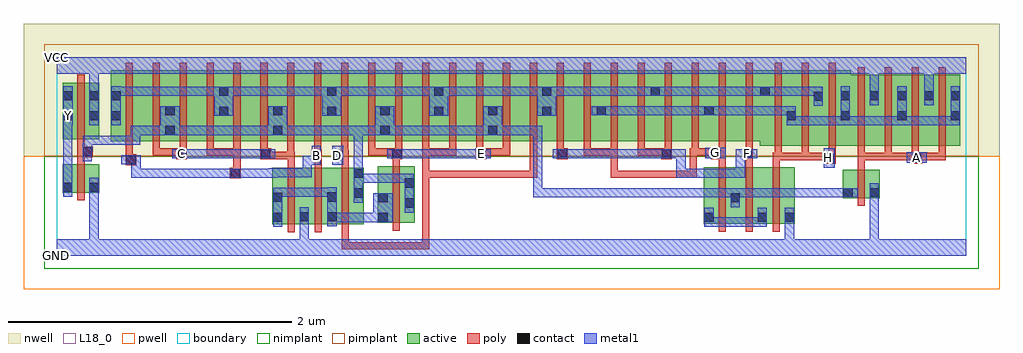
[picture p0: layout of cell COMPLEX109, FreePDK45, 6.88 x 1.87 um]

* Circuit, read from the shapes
.subckt COMPLEX109 A B C D E F G GND H VCC Y
M1 GND n1 Y VSUBS nfet w=0.2u l=0.05u
M2 GND C n2 VSUBS nfet w=0.4u l=0.05u
M3 n2 B GND VSUBS nfet w=0.4u l=0.05u
M4 n1 D n2 VSUBS nfet w=0.4u l=0.05u
M5 n1 E n2 VSUBS nfet w=0.4u l=0.05u
M6 n1 G n3 VSUBS nfet w=0.4u l=0.05u
M7 n3 F n1 VSUBS nfet w=0.4u l=0.05u
M8 GND H n3 VSUBS nfet w=0.4u l=0.05u
M9 GND A n1 VSUBS nfet w=0.2u l=0.05u
M10 VCC n1 Y n4 pfet w=0.4u l=0.05u
M11 n5 B n6 n4 pfet w=0.5u l=0.05u
M12 n1 C n5 n4 pfet w=0.5u l=0.05u
M13 n7 C n1 n4 pfet w=0.5u l=0.05u
M14 n6 B n7 n4 pfet w=0.5u l=0.05u
M15 n8 B n6 n4 pfet w=0.5u l=0.05u
M16 n1 C n8 n4 pfet w=0.5u l=0.05u
M17 n9 C n1 n4 pfet w=0.5u l=0.05u
M18 n6 B n9 n4 pfet w=0.5u l=0.05u
M19 n10 D n6 n4 pfet w=0.5u l=0.05u
M20 n1 E n10 n4 pfet w=0.5u l=0.05u
M21 n11 E n1 n4 pfet w=0.5u l=0.05u
M22 n6 D n11 n4 pfet w=0.5u l=0.05u
M23 n12 D n6 n4 pfet w=0.5u l=0.05u
M24 n1 E n12 n4 pfet w=0.5u l=0.05u
M25 n13 E n1 n4 pfet w=0.5u l=0.05u
M26 n6 D n13 n4 pfet w=0.5u l=0.05u
M27 n14 F n6 n4 pfet w=0.5u l=0.05u
M28 n15 G n14 n4 pfet w=0.5u l=0.05u
M29 n16 G n15 n4 pfet w=0.5u l=0.05u
M30 n6 F n16 n4 pfet w=0.5u l=0.05u
M31 n17 F n6 n4 pfet w=0.5u l=0.05u
M32 n15 G n17 n4 pfet w=0.5u l=0.05u
M33 n18 G n15 n4 pfet w=0.5u l=0.05u
M34 n6 F n18 n4 pfet w=0.5u l=0.05u
M35 n15 H n6 n4 pfet w=0.532u l=0.05u m=3
M36 VCC A n15 n4 pfet w=0.5u l=0.05u m=4
.ends

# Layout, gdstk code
import gdstk
lib = gdstk.Library(unit=1e-6, precision=1e-09)
def R(c, l, rs):  # rectangles x0, y0, x1, y1
    for r in rs: c.add(gdstk.rectangle(r[:2], r[2:], *l))
def A(c, l, x, y, w, h, nx, ny, dx, dy):  # array of equal rectangles
    R(c, l, [(x+i*dx, y+j*dy, x+i*dx+w, y+j*dy+h) for i in range(nx) for j in range(ny)])
active = (1, 0)
pwell = (2, 0)
nwell = (3, 0)
nimplant = (4, 0)
pimplant = (5, 0)
poly = (9, 0)
contact = (10, 0)
metal1 = (11, 0)
L18_0 = (18, 0)
boundary = (235, 0)

complex109 = lib.new_cell('COMPLEX109')
A(complex109, active, 0.38, 0.807, 0.225, 0.5, 5, 1, 0.38, 0)
A(complex109, active, 0.605, 0.807, 0.23, 0.5, 4, 1, 0.38, 0)
A(complex109, active, 2.125, 0.807, 0.225, 0.5, 4, 1, 0.38, 0)
A(complex109, active, 2.275, 0.807, 0.23, 0.5, 4, 1, 0.38, 0)
A(complex109, active, 3.645, 0.807, 0.23, 0.5, 3, 1, 0.38, 0)
A(complex109, active, 3.8, 0.807, 0.225, 0.5, 3, 1, 0.38, 0)
R(complex109, active, [(1.52,0.222,1.782,0.622), (1.707,0.222,1.977,0.622), (1.902,0.222,2.162,0.622), (4.56,0.225,4.82,0.625), (4.745,0.225,5.01,0.625), (4.935,0.225,5.202,0.625), (5.127,0.225,5.202,0.625), (1.52,0.232,1.595,0.622), (1.707,0.232,1.782,0.492), (1.902,0.232,1.977,0.492), (2.262,0.232,2.337,0.632), (2.262,0.232,2.522,0.632), (2.447,0.232,2.522,0.632), (4.56,0.232,4.635,0.492), (4.935,0.232,5.01,0.492), (2.087,0.245,2.162,0.622), (4.745,0.245,4.82,0.492), (5.54,0.407,5.615,0.607), (5.54,0.407,5.8,0.607), (5.725,0.407,5.8,0.607), (0.04,0.445,0.115,0.645), (0.04,0.445,0.3,0.645), (0.225,0.445,0.3,0.645), (4.955,0.775,5.215,1.307), (5.14,0.775,5.405,1.307), (5.14,0.775,5.215,1.07), (5.33,0.775,5.405,1.2), (5.33,0.775,5.595,1.307), (5.52,0.775,5.8,1.275), (5.725,0.775,5.8,1.275), (5.725,0.775,5.995,1.275), (5.92,0.775,5.995,1.2), (5.92,0.775,6.185,1.275), (6.11,0.775,6.37,1.275), (6.11,0.775,6.185,1.275), (6.295,0.775,6.37,1.2), (0.38,0.807,0.485,1.2), (0.76,0.807,0.835,1.07), (1.14,0.807,1.215,1.2), (1.52,0.807,1.595,1.07), (1.9,0.807,1.975,1.2), (2.275,0.807,2.35,1.07), (2.655,0.807,2.73,1.2), (3.035,0.807,3.11,1.07), (3.415,0.807,3.49,1.2), (3.8,0.807,3.875,1.07), (4.18,0.807,4.255,1.2), (4.56,0.807,4.635,1.07), (4.785,0.807,5.03,1.307), (4.955,0.807,5.03,1.2), (5.52,0.807,5.595,1.2), (0.04,0.82,0.3,1.22), (0.04,0.82,0.115,1.165), (0.225,0.82,0.3,1.22)])
R(complex109, pwell, [(-0.235,-0.235,6.645,0.7)])
R(complex109, nwell, [(-0.235,0.7,6.645,1.635)])
R(complex109, nimplant, [(-0.09,-0.09,6.5,0.7)])
R(complex109, pimplant, [(-0.09,0.7,6.5,1.49)])
A(complex109, poly, 1.627, 0.167, 0.05, 0.51, 3, 1, 0.19, 0)
A(complex109, poly, 5.06, 0.675, 0.05, 0.095, 3, 1, 0.19, 0)
A(complex109, poly, 5.645, 0.675, 0.05, 0.095, 4, 1, 0.19, 0)
A(complex109, poly, 0.675, 0.707, 0.05, 0.095, 5, 1, 0.19, 0)
A(complex109, poly, 2.195, 0.707, 0.05, 0.095, 6, 1, 0.19, 0)
A(complex109, poly, 3.525, 0.707, 0.05, 0.095, 8, 1, 0.19, 0)
A(complex109, poly, 5.06, 0.72, 0.05, 0.642, 3, 1, 0.19, 0)
A(complex109, poly, 5.645, 0.72, 0.05, 0.61, 4, 1, 0.19, 0)
A(complex109, poly, 0.485, 0.752, 0.05, 0.61, 24, 1, 0.19, 0)
R(complex109, poly, [(2.007,0.045,2.057,0.095), (2.007,0.045,2.057,0.095), (2.007,0.045,2.057,0.095), (2.007,0.045,2.19,0.095), (2.007,0.045,2.057,0.217), (2.14,0.045,2.19,0.095), (2.14,0.045,2.19,0.095), (2.14,0.045,2.19,0.095), (2.14,0.045,2.492,0.095), (2.442,0.045,2.492,0.095), (2.442,0.045,2.625,0.095), (2.575,0.045,2.625,0.095), (2.575,0.045,2.625,0.095), (2.575,0.045,2.625,0.095), (2.575,0.045,2.625,0.095), (2.575,0.045,2.625,0.095), (2.575,0.045,2.625,0.6), (4.665,0.17,4.715,0.68), (4.855,0.17,4.905,0.68), (5.047,0.17,5.097,0.68), (2.367,0.177,2.417,0.687), (5.645,0.352,5.695,0.662), (0.145,0.39,0.195,0.7), (1.22,0.545,1.295,0.62), (2.575,0.55,2.625,0.6), (2.575,0.55,2.625,0.6), (2.575,0.55,2.625,0.6), (2.575,0.55,2.625,0.757), (2.575,0.55,2.757,0.6), (2.707,0.55,2.757,0.6), (2.707,0.55,2.757,0.6), (2.707,0.55,2.757,0.6), (2.707,0.55,2.89,0.6), (2.84,0.55,2.89,0.6), (2.84,0.55,3.022,0.6), (2.972,0.55,3.022,0.6), (2.972,0.55,3.022,0.6), (2.972,0.55,3.022,0.6), (2.972,0.55,3.252,0.6), (3.202,0.55,3.252,0.6), (3.202,0.55,3.385,0.6), (3.335,0.55,3.385,0.6), (3.335,0.55,3.385,0.6), (3.335,0.55,3.385,0.6), (3.335,0.55,3.385,0.6), (3.335,0.55,3.385,0.6), (3.335,0.55,3.385,0.6), (3.335,0.55,3.385,0.6), (3.335,0.55,3.385,0.802), (3.905,0.55,3.955,0.6), (3.905,0.55,3.955,0.6), (3.905,0.55,3.955,0.6), (3.905,0.55,3.955,0.757), (3.905,0.55,4.177,0.6), (4.127,0.55,4.177,0.6), (4.127,0.55,4.177,0.6), (4.127,0.55,4.177,0.6), (4.127,0.55,4.377,0.6), (4.327,0.55,4.377,0.6), (4.327,0.55,4.377,0.6), (4.327,0.55,4.377,0.6), (4.327,0.55,4.51,0.6), (4.46,0.55,4.51,0.6), (4.46,0.55,4.51,0.757), (1.245,0.57,1.295,0.62), (1.245,0.57,1.295,0.62), (1.245,0.57,1.295,0.757), (5.645,0.612,5.695,0.725), (1.627,0.627,1.677,0.732), (1.817,0.627,1.867,0.722), (2.007,0.627,2.057,0.722), (4.665,0.63,4.715,0.732), (4.855,0.63,4.905,0.732), (5.047,0.63,5.097,0.725), (2.367,0.637,2.417,0.732), (0.485,0.64,0.56,0.715), (0.145,0.65,0.195,0.745), (5.415,0.65,5.49,0.725), (6.025,0.65,6.1,0.725), (0.485,0.665,0.535,0.802), (1.792,0.672,1.867,0.747), (1.95,0.672,2.057,0.747), (5.047,0.675,5.11,0.725), (5.06,0.675,5.11,0.725), (5.06,0.675,5.11,0.725), (5.06,0.675,5.3,0.725), (5.25,0.675,5.3,0.725), (5.25,0.675,5.3,0.725), (5.25,0.675,5.3,0.725), (5.25,0.675,5.465,0.725), (5.645,0.675,5.695,0.725), (5.645,0.675,5.695,0.725), (5.645,0.675,5.695,0.725), (5.645,0.675,5.885,0.725), (5.835,0.675,5.885,0.725), (5.835,0.675,5.885,0.725), (5.835,0.675,5.885,0.725), (5.835,0.675,6.075,0.725), (6.05,0.675,6.265,0.725), (6.215,0.675,6.265,0.725), (6.215,0.675,6.265,0.725), (6.215,0.675,6.265,0.725), (0.842,0.682,0.917,0.757), (1.435,0.682,1.51,0.757), (1.46,0.682,1.675,0.732), (1.625,0.682,1.675,0.732), (1.625,0.682,1.675,0.732), (1.625,0.682,1.675,0.802), (1.625,0.682,1.677,0.732), (2.36,0.682,2.435,0.757), (2.952,0.682,3.027,0.757), (3.525,0.682,3.6,0.757), (4.26,0.682,4.335,0.757), (4.61,0.682,4.715,0.757), (4.83,0.682,4.905,0.757), (0.145,0.695,0.252,0.77), (1.815,0.697,1.865,0.802), (2.005,0.697,2.055,0.802), (0.675,0.707,0.725,0.757), (0.675,0.707,0.725,0.757), (0.675,0.707,0.725,0.757), (0.675,0.707,0.892,0.757), (1.055,0.707,1.105,0.757), (1.055,0.707,1.295,0.757), (1.245,0.707,1.295,0.757), (1.245,0.707,1.295,0.757), (1.245,0.707,1.295,0.757), (2.195,0.707,2.245,0.757), (2.195,0.707,2.245,0.757), (2.195,0.707,2.245,0.757), (2.195,0.707,2.41,0.757), (2.575,0.707,2.625,0.757), (2.575,0.707,2.625,0.757), (2.575,0.707,2.625,0.757), (2.575,0.707,2.757,0.757), (2.707,0.707,2.757,0.757), (2.707,0.707,2.815,0.757), (2.765,0.707,2.815,0.757), (2.977,0.707,3.195,0.757), (3.145,0.707,3.195,0.757), (3.145,0.707,3.195,0.757), (3.145,0.707,3.195,0.757), (3.715,0.707,3.765,0.757), (3.715,0.707,3.765,0.757), (3.715,0.707,3.765,0.757), (3.715,0.707,3.955,0.757), (3.905,0.707,3.955,0.757), (3.905,0.707,3.955,0.757), (3.905,0.707,3.955,0.757), (4.095,0.707,4.145,0.757), (4.095,0.707,4.145,0.757), (4.095,0.707,4.145,0.757), (4.095,0.707,4.31,0.757), (4.46,0.707,4.51,0.757), (4.46,0.707,4.51,0.757), (4.46,0.707,4.525,0.757), (4.475,0.707,4.525,0.757), (4.475,0.707,4.525,0.757), (4.475,0.707,4.66,0.757), (0.145,0.72,0.195,0.815), (0.145,0.765,0.195,1.275)])
R(complex109, contact, [(2.267,0.237,2.332,0.302), (1.525,0.24,1.59,0.305), (4.565,0.24,4.63,0.305), (4.94,0.24,5.005,0.305), (5.132,0.24,5.197,0.305), (1.712,0.242,1.777,0.307), (1.907,0.242,1.972,0.307), (2.452,0.34,2.517,0.405), (2.267,0.377,2.332,0.442), (4.75,0.377,4.815,0.442), (1.525,0.38,1.59,0.445), (1.907,0.382,1.972,0.447), (2.092,0.41,2.157,0.475), (5.545,0.412,5.61,0.477), (5.73,0.412,5.795,0.477), (0.045,0.45,0.11,0.515), (0.23,0.45,0.295,0.515), (2.452,0.48,2.517,0.545), (1.225,0.55,1.29,0.615), (2.092,0.55,2.157,0.615), (0.49,0.645,0.555,0.71), (5.42,0.655,5.485,0.72), (6.03,0.655,6.095,0.72), (1.797,0.677,1.862,0.742), (1.955,0.677,2.02,0.742), (0.847,0.687,0.912,0.752), (1.44,0.687,1.505,0.752), (2.365,0.687,2.43,0.752), (2.957,0.687,3.022,0.752), (3.53,0.687,3.595,0.752), (4.265,0.687,4.33,0.752), (4.615,0.687,4.68,0.752), (4.835,0.687,4.9,0.752), (0.182,0.7,0.247,0.765), (0.765,0.85,0.83,0.915), (1.525,0.85,1.59,0.915), (2.28,0.85,2.345,0.915), (3.04,0.85,3.105,0.915), (0.045,0.955,0.11,1.02), (0.23,0.955,0.295,1.02), (0.385,0.955,0.45,1.02), (5.145,0.955,5.21,1.02), (5.525,0.955,5.59,1.02), (5.925,0.955,5.99,1.02), (6.3,0.955,6.365,1.02), (1.145,0.987,1.21,1.052), (1.905,0.987,1.97,1.052), (2.66,0.987,2.725,1.052), (3.42,0.987,3.485,1.052), (0.765,0.99,0.83,1.055), (1.525,0.99,1.59,1.055), (2.28,0.99,2.345,1.055), (3.04,0.99,3.105,1.055), (3.805,0.99,3.87,1.055), (4.565,0.99,4.63,1.055), (5.335,1.092,5.4,1.157), (0.045,1.095,0.11,1.16), (0.23,1.095,0.295,1.16), (0.385,1.095,0.45,1.16), (5.525,1.095,5.59,1.16), (5.73,1.095,5.795,1.16), (5.925,1.095,5.99,1.16), (6.115,1.095,6.18,1.16), (6.3,1.095,6.365,1.16), (1.145,1.127,1.21,1.192), (1.905,1.127,1.97,1.192), (2.66,1.127,2.725,1.192), (3.42,1.127,3.485,1.192), (4.185,1.127,4.25,1.192), (4.96,1.127,5.025,1.192)])
R(complex109, metal1, [(0,0,6.41,0.115), (0.23,0.05,0.295,0.115), (0.23,0.05,0.295,0.115), (0.23,0.05,0.295,0.115), (0.23,0.05,0.295,0.115), (0.23,0.05,0.295,0.115), (0.23,0.05,0.295,0.115), (0.23,0.05,0.295,0.48), (1.712,0.05,1.777,0.115), (1.712,0.05,1.777,0.115), (1.712,0.05,1.777,0.272), (5.132,0.05,5.197,0.27), (5.73,0.05,5.795,0.115), (5.73,0.05,5.795,0.115), (5.73,0.05,5.795,0.115), (5.73,0.05,5.795,0.115), (5.73,0.05,5.795,0.115), (5.73,0.05,5.795,0.115), (5.73,0.05,5.795,0.442), (1.525,0.205,1.59,0.48), (4.565,0.205,4.63,0.34), (4.565,0.205,4.645,0.27), (4.58,0.205,4.645,0.27), (4.58,0.205,4.852,0.27), (4.787,0.205,4.852,0.27), (4.787,0.205,4.852,0.27), (4.787,0.205,4.852,0.27), (4.787,0.205,5.005,0.27), (4.94,0.205,5.005,0.34), (5.132,0.205,5.197,0.27), (5.132,0.205,5.197,0.27), (5.132,0.205,5.197,0.34), (1.712,0.207,1.777,0.342), (1.907,0.207,1.972,0.482), (1.907,0.237,1.972,0.302), (1.907,0.237,1.972,0.302), (1.907,0.237,2.16,0.302), (2.095,0.237,2.16,0.302), (2.095,0.237,2.16,0.302), (2.095,0.237,2.16,0.302), (2.095,0.237,2.297,0.302), (2.232,0.237,2.367,0.442), (2.452,0.305,2.517,0.58), (4.75,0.342,4.815,0.477), (2.092,0.375,2.157,0.65), (5.73,0.377,5.795,0.512), (3.357,0.412,3.422,0.477), (3.357,0.412,3.422,0.477), (3.357,0.412,3.657,0.477), (3.357,0.412,3.422,0.48), (3.592,0.412,3.657,0.477), (3.592,0.412,3.767,0.477), (3.702,0.412,3.767,0.477), (3.702,0.412,3.905,0.477), (3.84,0.412,3.905,0.477), (3.84,0.412,3.905,0.477), (3.84,0.412,3.905,0.477), (3.84,0.412,4.042,0.477), (3.977,0.412,4.042,0.477), (3.977,0.412,4.042,0.477), (3.977,0.412,4.042,0.477), (3.977,0.412,4.215,0.477), (4.15,0.412,4.215,0.477), (4.15,0.412,4.215,0.477), (4.15,0.412,4.215,0.477), (4.15,0.412,4.457,0.477), (4.392,0.412,4.457,0.477), (4.392,0.412,4.507,0.477), (4.442,0.412,4.507,0.477), (4.442,0.412,4.645,0.477), (4.58,0.412,4.645,0.477), (4.58,0.412,4.645,0.477), (4.58,0.412,4.645,0.477), (4.58,0.412,4.815,0.477), (4.75,0.412,4.852,0.477), (4.787,0.412,4.852,0.477), (4.787,0.412,5.06,0.477), (4.995,0.412,5.06,0.477), (4.995,0.412,5.06,0.477), (4.995,0.412,5.06,0.477), (4.995,0.412,5.21,0.477), (5.145,0.412,5.21,0.477), (5.145,0.412,5.21,0.477), (5.145,0.412,5.21,0.477), (5.145,0.412,5.437,0.477), (5.372,0.412,5.437,0.477), (5.372,0.412,5.437,0.477), (5.372,0.412,5.437,0.477), (5.372,0.412,5.575,0.477), (5.51,0.412,5.645,0.477), (0.045,0.415,0.11,0.55), (0.23,0.415,0.295,0.55), (1.525,0.415,1.625,0.48), (1.56,0.415,1.625,0.48), (1.56,0.415,1.8,0.48), (1.735,0.415,1.805,0.48), (1.74,0.415,1.805,0.48), (1.74,0.415,1.805,0.48), (1.74,0.415,1.972,0.48), (3.357,0.415,3.422,0.48), (3.357,0.415,3.422,0.48), (3.357,0.415,3.422,0.48), (3.357,0.415,3.422,0.48), (3.357,0.415,3.422,0.48), (3.357,0.415,3.422,0.48), (3.357,0.415,3.422,0.915), (0.045,0.485,0.11,0.55), (0.045,0.485,0.11,0.55), (0.045,0.485,0.11,0.55), (0.045,0.485,0.11,0.55), (0.045,0.485,0.11,0.985), (2.092,0.515,2.157,0.58), (2.092,0.515,2.157,0.58), (2.092,0.515,2.38,0.58), (2.315,0.515,2.38,0.58), (2.315,0.515,2.38,0.58), (2.315,0.515,2.38,0.58), (2.315,0.515,2.517,0.58), (0.525,0.55,0.59,0.615), (0.525,0.55,0.727,0.615), (0.525,0.55,0.59,0.71), (0.662,0.55,0.727,0.615), (0.662,0.55,0.727,0.615), (0.662,0.55,0.727,0.615), (0.662,0.55,0.865,0.615), (0.8,0.55,0.865,0.615), (0.8,0.55,1.037,0.615), (0.972,0.55,1.037,0.615), (0.972,0.55,1.085,0.615), (1.02,0.55,1.085,0.615), (1.02,0.55,1.255,0.615), (1.19,0.55,1.255,0.615), (1.19,0.55,1.255,0.615), (1.19,0.55,1.325,0.615), (1.26,0.55,1.417,0.615), (1.352,0.55,1.417,0.615), (1.352,0.55,1.417,0.615), (1.352,0.55,1.417,0.615), (1.352,0.55,1.487,0.615), (1.422,0.55,1.487,0.615), (1.422,0.55,1.555,0.615), (1.49,0.55,1.555,0.617), (4.367,0.55,4.432,0.615), (4.367,0.55,4.502,0.615), (4.367,0.55,4.432,0.752), (4.437,0.55,4.502,0.615), (4.437,0.55,4.645,0.615), (4.58,0.55,4.645,0.615), (4.58,0.55,4.645,0.615), (4.58,0.55,4.645,0.615), (4.58,0.55,4.852,0.615), (4.787,0.55,4.852,0.615), (4.787,0.55,4.852,0.752), (1.49,0.552,1.675,0.617), (1.61,0.552,1.675,0.617), (1.61,0.552,1.797,0.617), (1.732,0.552,1.797,0.617), (1.732,0.552,1.797,0.707), (2.092,0.585,2.157,0.65), (2.092,0.585,2.157,0.65), (2.092,0.585,2.157,0.915), (5.407,0.62,5.485,0.757), (1.732,0.642,1.797,0.707), (1.732,0.642,1.862,0.707), (1.797,0.642,1.862,0.777), (1.94,0.642,2.02,0.777), (0.455,0.645,0.59,0.71), (0.525,0.645,0.59,0.71), (0.525,0.645,0.59,0.71), (0.525,0.645,0.59,0.71), (0.525,0.645,0.59,0.71), (5.992,0.655,6.132,0.73), (0.182,0.665,0.247,0.8), (0.812,0.687,0.947,0.752), (0.882,0.687,1.002,0.752), (0.937,0.687,1.002,0.752), (0.937,0.687,1.107,0.752), (1.042,0.687,1.107,0.752), (1.042,0.687,1.245,0.752), (1.18,0.687,1.245,0.752), (1.18,0.687,1.245,0.752), (1.18,0.687,1.245,0.752), (1.18,0.687,1.417,0.752), (1.352,0.687,1.417,0.752), (1.352,0.687,1.47,0.752), (1.405,0.687,1.54,0.752), (2.33,0.687,2.465,0.752), (2.4,0.687,2.517,0.752), (2.452,0.687,2.517,0.752), (2.452,0.687,2.622,0.752), (2.557,0.687,2.622,0.752), (2.557,0.687,2.76,0.752), (2.695,0.687,2.76,0.752), (2.695,0.687,2.76,0.752), (2.695,0.687,2.76,0.752), (2.695,0.687,2.897,0.752), (2.832,0.687,2.897,0.752), (2.832,0.687,2.987,0.752), (2.922,0.687,3.057,0.752), (3.495,0.687,3.63,0.752), (3.565,0.687,3.657,0.752), (3.592,0.687,3.657,0.752), (3.592,0.687,3.767,0.752), (3.702,0.687,3.767,0.752), (3.702,0.687,3.905,0.752), (3.84,0.687,3.905,0.752), (3.84,0.687,3.905,0.752), (3.84,0.687,3.905,0.752), (3.84,0.687,4.077,0.752), (4.012,0.687,4.077,0.752), (4.012,0.687,4.077,0.752), (4.012,0.687,4.077,0.752), (4.012,0.687,4.295,0.752), (4.23,0.687,4.295,0.752), (4.23,0.687,4.295,0.752), (4.23,0.687,4.365,0.752), (4.3,0.687,4.432,0.752), (4.367,0.687,4.432,0.752), (4.572,0.687,4.715,0.762), (4.787,0.687,4.852,0.752), (4.787,0.687,4.865,0.752), (4.8,0.687,4.937,0.752), (0.182,0.735,0.247,0.8), (0.182,0.735,0.25,0.8), (0.185,0.735,0.25,0.8), (0.185,0.735,0.25,0.8), (0.185,0.735,0.25,0.847), (0.185,0.782,0.25,0.847), (0.185,0.782,0.45,0.847), (0.385,0.782,0.45,0.847), (0.385,0.782,0.45,0.847), (0.385,0.782,0.45,0.847), (0.385,0.782,0.587,0.847), (0.522,0.782,0.587,0.915), (0.522,0.85,0.727,0.915), (0.662,0.85,0.727,0.915), (0.662,0.85,0.795,0.915), (0.73,0.85,0.865,1.055), (0.8,0.85,0.865,0.915), (0.8,0.85,0.865,0.915), (0.8,0.85,1.002,0.915), (0.937,0.85,1.002,0.915), (0.937,0.85,1.085,0.915), (1.02,0.85,1.085,0.915), (1.02,0.85,1.28,0.915), (1.215,0.85,1.28,0.915), (1.215,0.85,1.28,0.915), (1.215,0.85,1.28,0.915), (1.215,0.85,1.417,0.915), (1.352,0.85,1.417,0.915), (1.352,0.85,1.462,0.915), (1.397,0.85,1.462,0.915), (1.397,0.85,1.555,0.915), (1.49,0.85,1.625,1.055), (1.56,0.85,1.625,0.915), (1.56,0.85,1.625,0.915), (1.56,0.85,1.8,0.915), (1.735,0.85,1.805,0.915), (1.74,0.85,1.805,0.915), (1.74,0.85,1.805,0.915), (1.74,0.85,1.935,0.915), (1.87,0.85,1.935,0.915), (1.87,0.85,1.935,0.915), (1.87,0.85,1.935,0.915), (1.87,0.85,2.157,0.915), (2.092,0.85,2.157,0.915), (2.092,0.85,2.157,0.915), (2.092,0.85,2.157,0.915), (2.092,0.85,2.157,0.915), (2.092,0.85,2.157,0.915), (2.092,0.85,2.31,0.915), (2.245,0.85,2.38,1.055), (2.315,0.85,2.38,0.915), (2.315,0.85,2.38,0.915), (2.315,0.85,2.547,0.915), (2.482,0.85,2.547,0.915), (2.482,0.85,2.602,0.915), (2.537,0.85,2.602,0.915), (2.537,0.85,2.76,0.915), (2.695,0.85,2.76,0.915), (2.695,0.85,2.76,0.915), (2.695,0.85,2.76,0.915), (2.695,0.85,2.932,0.915), (2.867,0.85,2.932,0.915), (2.867,0.85,2.932,0.915), (2.867,0.85,2.932,0.915), (2.867,0.85,3.07,0.915), (3.005,0.85,3.14,1.055), (3.075,0.85,3.14,0.915), (3.075,0.85,3.14,0.915), (3.075,0.85,3.277,0.915), (3.212,0.85,3.277,0.915), (3.212,0.85,3.277,0.915), (3.212,0.85,3.277,0.915), (3.212,0.85,3.422,0.915), (3.357,0.85,3.422,0.915), (0.045,0.92,0.112,1.195), (0.23,0.92,0.295,1.195), (0.385,0.92,0.45,1.195), (5.145,0.92,5.21,0.985), (5.145,0.92,5.21,0.985), (5.145,0.92,5.21,1.055), (5.145,0.92,5.347,0.985), (5.282,0.92,5.347,0.985), (5.282,0.92,5.347,0.985), (5.282,0.92,5.347,0.985), (5.282,0.92,5.59,0.985), (5.525,0.92,5.59,0.985), (5.525,0.92,5.59,0.985), (5.525,0.92,5.59,1.195), (5.525,0.92,5.852,0.985), (5.787,0.92,5.852,0.985), (5.787,0.92,5.852,0.985), (5.787,0.92,5.852,0.985), (5.787,0.92,5.99,0.985), (5.925,0.92,5.99,1.195), (5.925,0.92,6.227,0.985), (6.162,0.92,6.227,0.985), (6.162,0.92,6.227,0.985), (6.162,0.92,6.227,0.985), (6.162,0.92,6.365,0.985), (6.3,0.92,6.365,0.985), (6.3,0.92,6.365,0.985), (6.3,0.92,6.365,1.195), (1.11,0.987,1.245,1.192), (1.87,0.987,2.005,1.192), (2.625,0.987,2.76,1.192), (3.385,0.987,3.52,1.192), (3.77,0.99,3.905,1.055), (3.84,0.99,3.905,1.055), (3.84,0.99,3.905,1.055), (3.84,0.99,4.077,1.055), (4.012,0.99,4.077,1.055), (4.012,0.99,4.077,1.055), (4.012,0.99,4.077,1.055), (4.012,0.99,4.215,1.055), (4.15,0.99,4.215,1.055), (4.15,0.99,4.332,1.055), (4.267,0.99,4.332,1.055), (4.267,0.99,4.432,1.055), (4.367,0.99,4.432,1.055), (4.367,0.99,4.502,1.055), (4.437,0.99,4.502,1.055), (4.437,0.99,4.595,1.055), (4.53,0.99,4.665,1.055), (4.6,0.99,4.665,1.055), (4.6,0.99,4.665,1.055), (4.6,0.99,4.852,1.055), (4.787,0.99,4.852,1.055), (4.787,0.99,4.852,1.055), (4.787,0.99,4.852,1.055), (4.787,0.99,5.06,1.055), (4.995,0.99,5.06,1.055), (4.995,0.99,5.06,1.055), (4.995,0.99,5.06,1.055), (4.995,0.99,5.21,1.055), (5.335,1.057,5.4,1.192), (5.73,1.06,5.795,1.195), (6.115,1.06,6.18,1.195), (0.385,1.127,0.587,1.192), (0.522,1.127,0.587,1.192), (0.522,1.127,0.587,1.192), (0.522,1.127,0.587,1.192), (0.522,1.127,0.727,1.192), (0.662,1.127,0.727,1.192), (0.662,1.127,0.727,1.192), (0.662,1.127,0.727,1.192), (0.662,1.127,0.9,1.192), (0.835,1.127,0.9,1.192), (0.835,1.127,1.002,1.192), (0.937,1.127,1.002,1.192), (0.937,1.127,1.085,1.192), (1.02,1.127,1.085,1.192), (1.02,1.127,1.175,1.192), (1.18,1.127,1.245,1.192), (1.18,1.127,1.245,1.192), (1.18,1.127,1.417,1.192), (1.352,1.127,1.417,1.192), (1.352,1.127,1.462,1.192), (1.397,1.127,1.462,1.192), (1.397,1.127,1.625,1.192), (1.56,1.127,1.625,1.192), (1.56,1.127,1.625,1.192), (1.56,1.127,1.625,1.192), (1.56,1.127,1.8,1.192), (1.735,1.127,1.805,1.192), (1.74,1.127,1.805,1.192), (1.74,1.127,1.805,1.192), (1.74,1.127,1.935,1.192), (1.94,1.127,2.005,1.192), (1.94,1.127,2.005,1.192), (1.94,1.127,2.157,1.192), (2.092,1.127,2.157,1.192), (2.092,1.127,2.157,1.192), (2.092,1.127,2.157,1.192), (2.092,1.127,2.38,1.192), (2.315,1.127,2.38,1.192), (2.315,1.127,2.38,1.192), (2.315,1.127,2.38,1.192), (2.315,1.127,2.552,1.192), (2.487,1.127,2.552,1.192), (2.487,1.127,2.622,1.192), (2.557,1.127,2.622,1.192), (2.557,1.127,2.69,1.192), (2.695,1.127,2.76,1.192), (2.695,1.127,2.76,1.192), (2.695,1.127,2.897,1.192), (2.832,1.127,2.897,1.192), (2.832,1.127,2.897,1.192), (2.832,1.127,2.897,1.192), (2.832,1.127,3.07,1.192), (3.005,1.127,3.07,1.192), (3.005,1.127,3.07,1.192), (3.005,1.127,3.07,1.192), (3.005,1.127,3.277,1.192), (3.212,1.127,3.277,1.192), (3.212,1.127,3.277,1.192), (3.212,1.127,3.277,1.192), (3.212,1.127,3.45,1.192), (3.455,1.127,3.52,1.192), (3.455,1.127,3.52,1.192), (3.455,1.127,3.697,1.192), (3.632,1.127,3.697,1.192), (3.632,1.127,3.697,1.192), (3.632,1.127,3.697,1.192), (3.632,1.127,3.767,1.192), (3.702,1.127,3.767,1.192), (3.702,1.127,3.905,1.192), (3.84,1.127,3.905,1.192), (3.84,1.127,3.905,1.192), (3.84,1.127,3.905,1.192), (3.84,1.127,4.042,1.192), (3.977,1.127,4.042,1.192), (3.977,1.127,4.042,1.192), (3.977,1.127,4.042,1.192), (3.977,1.127,4.215,1.192), (4.15,1.127,4.285,1.192), (4.22,1.127,4.365,1.192), (4.3,1.127,4.365,1.192), (4.3,1.127,4.432,1.192), (4.367,1.127,4.432,1.192), (4.367,1.127,4.507,1.192), (4.442,1.127,4.507,1.192), (4.442,1.127,4.645,1.192), (4.58,1.127,4.645,1.192), (4.58,1.127,4.645,1.192), (4.58,1.127,4.645,1.192), (4.58,1.127,4.852,1.192), (4.787,1.127,4.852,1.192), (4.787,1.127,4.852,1.192), (4.787,1.127,4.852,1.192), (4.787,1.127,4.99,1.192), (4.925,1.127,5.06,1.192), (4.995,1.127,5.06,1.192), (4.995,1.127,5.06,1.192), (4.995,1.127,5.197,1.192), (5.132,1.127,5.197,1.192), (5.132,1.127,5.197,1.192), (5.132,1.127,5.197,1.192), (5.132,1.127,5.4,1.192), (0.23,1.13,0.295,1.35), (5.73,1.13,5.795,1.35), (6.115,1.13,6.18,1.35), (0,1.285,6.41,1.4)])
R(complex109, L18_0, [(0,0,6.41,0.115), (0.23,0.05,0.295,0.115), (0.23,0.05,0.295,0.115), (0.23,0.05,0.295,0.115), (0.23,0.05,0.295,0.115), (0.23,0.05,0.295,0.115), (0.23,0.05,0.295,0.115), (0.23,0.05,0.295,0.48), (1.712,0.05,1.777,0.115), (1.712,0.05,1.777,0.115), (1.712,0.05,1.777,0.272), (5.132,0.05,5.197,0.27), (5.73,0.05,5.795,0.115), (5.73,0.05,5.795,0.115), (5.73,0.05,5.795,0.115), (5.73,0.05,5.795,0.115), (5.73,0.05,5.795,0.115), (5.73,0.05,5.795,0.115), (5.73,0.05,5.795,0.442), (5.132,0.205,5.197,0.34), (5.132,0.205,5.197,0.27), (5.132,0.205,5.197,0.27), (1.712,0.207,1.777,0.342), (5.73,0.377,5.795,0.512), (0.045,0.415,0.11,0.55), (0.23,0.415,0.295,0.55), (0.045,0.485,0.11,0.55), (0.045,0.485,0.11,0.55), (0.045,0.485,0.11,0.55), (0.045,0.485,0.11,0.55), (0.045,0.485,0.11,0.985), (0.525,0.55,0.59,0.615), (0.525,0.55,0.59,0.71), (0.525,0.55,0.727,0.615), (0.662,0.55,0.727,0.615), (0.662,0.55,0.727,0.615), (0.662,0.55,0.727,0.615), (0.662,0.55,0.865,0.615), (0.8,0.55,0.865,0.615), (0.8,0.55,1.037,0.615), (0.972,0.55,1.037,0.615), (0.972,0.55,1.085,0.615), (1.02,0.55,1.085,0.615), (1.02,0.55,1.255,0.615), (1.19,0.55,1.255,0.615), (1.19,0.55,1.255,0.615), (1.19,0.55,1.325,0.615), (1.26,0.55,1.417,0.615), (1.352,0.55,1.417,0.615), (1.352,0.55,1.417,0.615), (1.352,0.55,1.417,0.615), (1.352,0.55,1.487,0.615), (1.422,0.55,1.487,0.615), (1.422,0.55,1.555,0.615), (1.49,0.55,1.555,0.617), (4.367,0.55,4.432,0.615), (4.367,0.55,4.502,0.615), (4.367,0.55,4.432,0.752), (4.437,0.55,4.502,0.615), (4.437,0.55,4.645,0.615), (4.58,0.55,4.645,0.615), (4.58,0.55,4.645,0.615), (4.58,0.55,4.645,0.615), (4.58,0.55,4.852,0.615), (4.787,0.55,4.852,0.615), (4.787,0.55,4.852,0.752), (1.49,0.552,1.675,0.617), (1.61,0.552,1.675,0.617), (1.61,0.552,1.797,0.617), (1.732,0.552,1.797,0.617), (1.732,0.552,1.797,0.707), (5.407,0.62,5.485,0.757), (1.732,0.642,1.797,0.707), (1.732,0.642,1.862,0.707), (1.797,0.642,1.862,0.777), (1.94,0.642,2.02,0.777), (0.455,0.645,0.59,0.71), (0.525,0.645,0.59,0.71), (0.525,0.645,0.59,0.71), (0.525,0.645,0.59,0.71), (0.525,0.645,0.59,0.71), (5.992,0.655,6.132,0.73), (5.407,0.657,5.472,0.722), (6.027,0.657,6.092,0.722), (1.797,0.677,1.862,0.742), (1.947,0.677,2.012,0.742), (0.812,0.687,0.947,0.752), (0.847,0.687,0.912,0.752), (0.882,0.687,1.002,0.752), (0.937,0.687,1.002,0.752), (0.937,0.687,1.107,0.752), (1.042,0.687,1.107,0.752), (1.042,0.687,1.245,0.752), (1.18,0.687,1.245,0.752), (1.18,0.687,1.245,0.752), (1.18,0.687,1.245,0.752), (1.18,0.687,1.417,0.752), (1.352,0.687,1.417,0.752), (1.352,0.687,1.47,0.752), (1.405,0.687,1.54,0.752), (2.33,0.687,2.465,0.752), (2.4,0.687,2.517,0.752), (2.452,0.687,2.517,0.752), (2.452,0.687,2.622,0.752), (2.557,0.687,2.622,0.752), (2.557,0.687,2.76,0.752), (2.695,0.687,2.76,0.752), (2.695,0.687,2.76,0.752), (2.695,0.687,2.76,0.752), (2.695,0.687,2.897,0.752), (2.832,0.687,2.897,0.752), (2.832,0.687,2.987,0.752), (2.922,0.687,3.057,0.752), (2.957,0.687,3.022,0.752), (3.495,0.687,3.63,0.752), (3.565,0.687,3.657,0.752), (3.592,0.687,3.657,0.752), (3.592,0.687,3.767,0.752), (3.702,0.687,3.767,0.752), (3.702,0.687,3.905,0.752), (3.84,0.687,3.905,0.752), (3.84,0.687,3.905,0.752), (3.84,0.687,3.905,0.752), (3.84,0.687,4.077,0.752), (4.012,0.687,4.077,0.752), (4.012,0.687,4.077,0.752), (4.012,0.687,4.077,0.752), (4.012,0.687,4.295,0.752), (4.23,0.687,4.295,0.752), (4.23,0.687,4.295,0.752), (4.23,0.687,4.365,0.752), (4.3,0.687,4.432,0.752), (4.367,0.687,4.432,0.752), (4.572,0.687,4.715,0.762), (4.787,0.687,4.852,0.752), (4.787,0.687,4.865,0.752), (4.8,0.687,4.937,0.752), (4.837,0.687,4.902,0.752), (4.607,0.697,4.672,0.762), (0.045,0.92,0.112,1.195), (0.23,0.92,0.295,1.195), (0.047,0.957,0.112,1.022), (5.73,1.06,5.795,1.195), (6.115,1.06,6.18,1.195), (0.23,1.13,0.295,1.35), (5.73,1.13,5.795,1.35), (6.115,1.13,6.18,1.35), (0,1.285,6.41,1.4)])
R(complex109, boundary, [(0,0,6.41,1.4)])
complex109.add(gdstk.Label('A', (6.06,0.69), layer=11, texttype=0))
complex109.add(gdstk.Label('B', (1.83,0.71), layer=11, texttype=0))
complex109.add(gdstk.Label('C', (0.88,0.72), layer=11, texttype=0))
complex109.add(gdstk.Label('D', (1.98,0.71), layer=11, texttype=0))
complex109.add(gdstk.Label('E', (2.99,0.72), layer=11, texttype=0))
complex109.add(gdstk.Label('F', (4.87,0.72), layer=11, texttype=0))
complex109.add(gdstk.Label('G', (4.64,0.73), layer=11, texttype=0))
complex109.add(gdstk.Label('H', (5.44,0.69), layer=11, texttype=0))
complex109.add(gdstk.Label('Y', (0.08,0.99), layer=11, texttype=0))
complex109.add(gdstk.Label('VCC', (0,1.4), layer=11, texttype=0))
complex109.add(gdstk.Label('GND', (0,0), layer=11, texttype=0))

lib.write_gds('COMPLEX109.gds')
